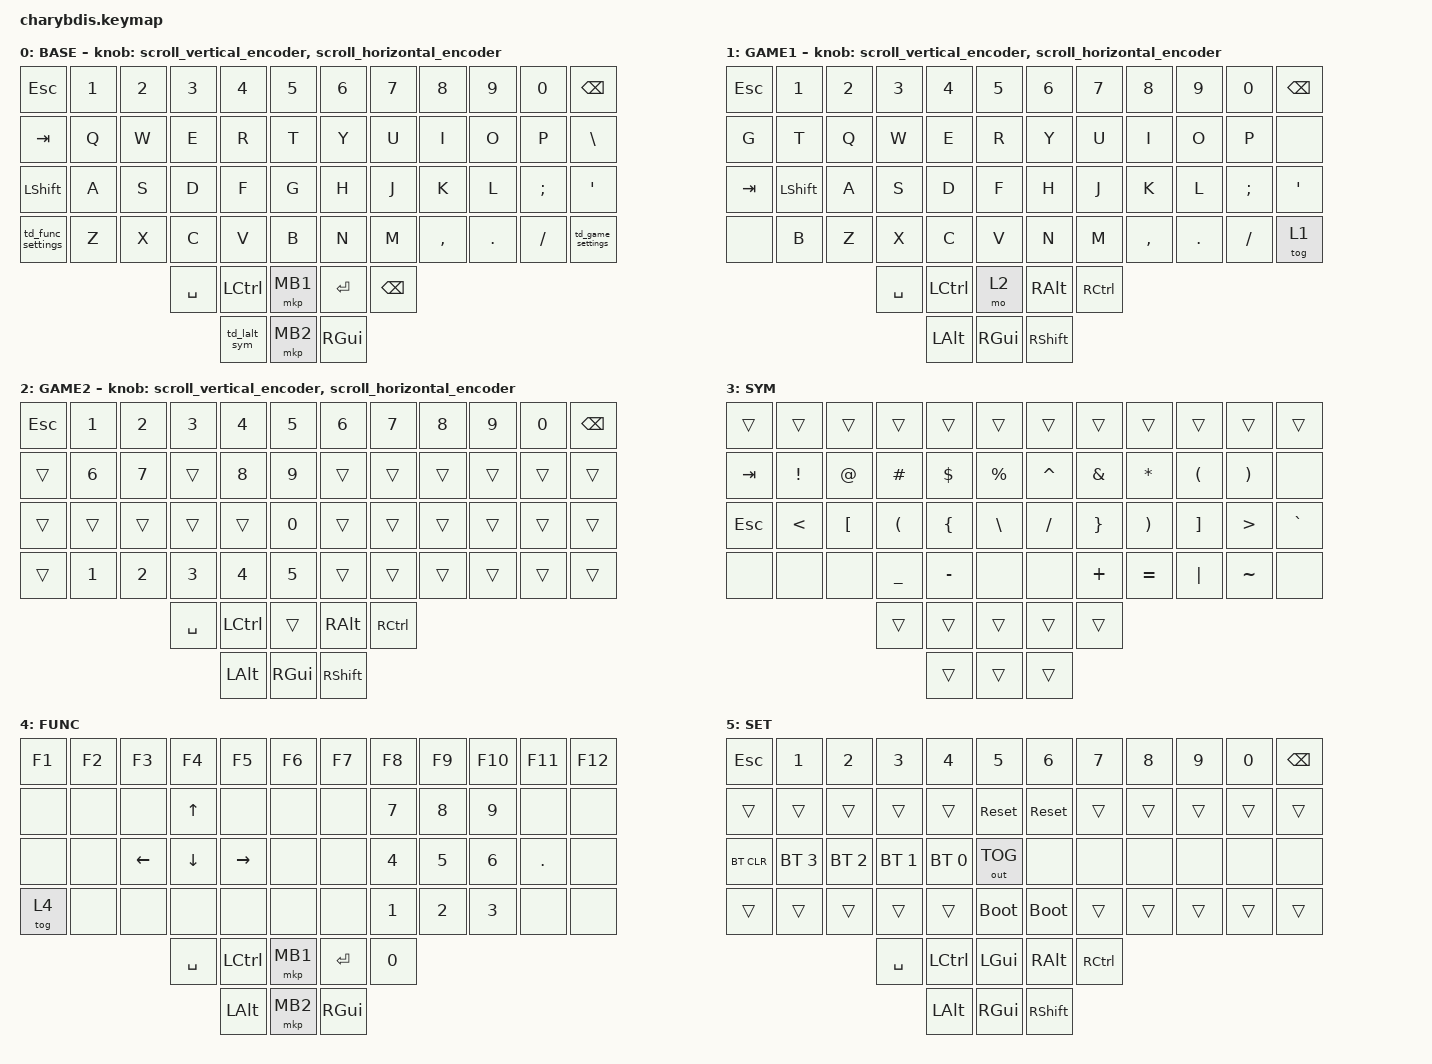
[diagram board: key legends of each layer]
#include <dt-bindings/zmk/mouse.h>
#include <behaviors.dtsi>
#include <dt-bindings/zmk/bt.h>
#include <dt-bindings/zmk/keys.h>
#include <dt-bindings/zmk/outputs.h>
#include <dt-bindings/zmk/pointing.h>

#define ZMK_POINTING_DEFAULT_MOVE_VAL 1000
#define ZMK_POINTING_DEFAULT_SCRL_VAL 12

/ {
    behaviors {
        td_lalt_sym: tap_dance_lalt_sym {
            compatible = "zmk,behavior-tap-dance";
            label = "TAP_DANCE_LALT_SYM";
            #binding-cells = <0>;
            tapping-term-ms = <200>;
            bindings = <&kp LALT>, <&mo 3>;
        };

        td_func_settings: tap_dance_func_settings {
            compatible = "zmk,behavior-tap-dance";
            label = "TAP_DANCE_FUNC_SETTINGS";
            #binding-cells = <0>;
            tapping-term-ms = <200>;
            bindings = <&to 4>, <&to 5>;
        };

        td_game_settings: tap_dance_game_settings {
            compatible = "zmk,behavior-tap-dance";
            label = "TAP_DANCE_GAME_SETTINGS";
            #binding-cells = <0>;
            tapping-term-ms = <200>;
            bindings = <&to 1>, <&to 5>;
        };
    };

    keymap {
        compatible = "zmk,keymap";

        base_layer {
            label = "BASE";
            bindings = <
&kp ESC         &kp N1  &kp N2  &kp N3     &kp N4        &kp N5      &kp N6     &kp N7    &kp N8     &kp N9   &kp N0    &kp BSPC
&kp TAB         &kp Q   &kp W   &kp E      &kp R         &kp T       &kp Y      &kp U     &kp I      &kp O    &kp P     &kp BSLH
&kp LEFT_SHIFT  &kp A   &kp S   &kp D      &kp F         &kp G       &kp H      &kp J     &kp K      &kp L    &kp SEMI  &kp SQT
&td_func_settings  &kp Z   &kp X   &kp C      &kp V         &kp B       &kp N      &kp M     &kp COMMA  &kp DOT  &kp FSLH  &td_game_settings
                                &kp SPACE  &kp LCTRL     &mkp MB1    &kp ENTER  &kp BSPC
                                           &td_lalt_sym  &mkp MB2    &kp RGUI
            >;

            sensor-bindings =
                <&scroll_vertical_encoder>,
                <&scroll_horizontal_encoder>;
        };

        game_layer_1 {
            label = "GAME1";
            bindings = <
&kp ESC  &kp N1      &kp N2  &kp N3     &kp N4     &kp N5      &kp N6     &kp N7     &kp N8     &kp N9      &kp N0         &kp BSPC
&kp G    &kp T       &kp Q   &kp W      &kp E      &kp R       &kp Y      &kp U      &kp I      &kp O       &kp P          &none
&kp TAB  &kp LSHIFT  &kp A   &kp S      &kp D      &kp F       &kp H      &kp J      &kp K      &kp L       &kp SEMICOLON  &kp SQT
&none    &kp B       &kp Z   &kp X      &kp C      &kp V       &kp N      &kp M      &kp COMMA  &kp PERIOD  &kp SLASH      &tog 1
                             &kp SPACE  &kp LCTRL  &mo 2       &kp RALT   &kp RCTRL
                                        &kp LALT   &kp RGUI    &kp RSHFT
            >;

            sensor-bindings =
                <&scroll_vertical_encoder>,
                <&scroll_horizontal_encoder>;
        };

        game_layer_2 {
            label = "GAME2";
            bindings = <
&kp ESC  &kp N1  &kp N2  &kp N3     &kp N4     &kp N5      &kp N6     &kp N7     &kp N8  &kp N9  &kp N0  &kp BSPC
&trans   &kp N6  &kp N7  &trans     &kp N8     &kp N9      &trans     &trans     &trans  &trans  &trans  &trans
&trans   &trans  &trans  &trans     &trans     &kp N0      &trans     &trans     &trans  &trans  &trans  &trans
&trans   &kp N1  &kp N2  &kp N3     &kp N4     &kp N5      &trans     &trans     &trans  &trans  &trans  &trans
                         &kp SPACE  &kp LCTRL  &trans      &kp RALT   &kp RCTRL
                                    &kp LALT   &kp RGUI    &kp RSHFT
            >;

            sensor-bindings =
                <&scroll_vertical_encoder>,
                <&scroll_horizontal_encoder>;
        };

        symbols_layer {
            label = "SYM";
            bindings = <
&trans   &trans    &trans    &trans     &trans     &trans       &trans     &trans    &trans     &trans    &trans     &trans
&kp TAB  &kp EXCL  &kp AT    &kp HASH   &kp DLLR   &kp PRCNT    &kp CARET  &kp AMPS  &kp ASTRK  &kp LPAR  &kp RPAR   &none
&kp ESC  &kp LT    &kp LBKT  &kp LPAR   &kp LBRC   &kp BSLH     &kp FSLH   &kp RBRC  &kp RPAR   &kp RBKT  &kp GT     &kp GRAVE
&none    &none     &none     &kp UNDER  &kp MINUS  &none        &none      &kp PLUS  &kp EQUAL  &kp PIPE  &kp TILDE  &none
                             &trans     &trans     &trans       &trans     &trans
                                        &trans     &trans       &trans
            >;
        };

        function_layer {
            label = "FUNC";
            bindings = <
&kp F1  &kp F2  &kp F3          &kp F4          &kp F5           &kp F6      &kp F7     &kp F8        &kp F9        &kp F10       &kp F11  &kp F12
&none   &none   &none           &kp UP_ARROW    &none            &none       &none      &kp N7        &kp N8        &kp N9        &none    &none
&none   &none   &kp LEFT_ARROW  &kp DOWN_ARROW  &kp RIGHT_ARROW  &none       &none      &kp NUMBER_4  &kp N5        &kp NUMBER_6  &kp DOT  &none
&tog 4  &none   &none           &none           &none            &none       &none      &kp NUMBER_1  &kp NUMBER_2  &kp NUMBER_3  &none    &none
                                &kp SPACE       &kp LCTRL        &mkp MB1    &kp ENTER  &kp N0
                                                &kp LALT         &mkp MB2    &kp RGUI
            >;
        };

        settings {
            label = "SET";
            bindings = <
&kp ESC     &kp N1        &kp N2        &kp N3        &kp N4        &kp N5          &kp N6       &kp N7     &kp N8  &kp N9  &kp N0  &kp BSPC
&trans      &trans        &trans        &trans        &trans        &sys_reset      &sys_reset   &trans     &trans  &trans  &trans  &trans
&bt BT_CLR  &bt BT_SEL 3  &bt BT_SEL 2  &bt BT_SEL 1  &bt BT_SEL 0  &out OUT_TOG    &none        &none      &none   &none   &none   &none
&trans      &trans        &trans        &trans        &trans        &bootloader     &bootloader  &trans     &trans  &trans  &trans  &trans
                                        &kp SPACE     &kp LCTRL     &kp LGUI        &kp RALT     &kp RCTRL
                                                      &kp LALT      &kp RGUI        &kp RSHFT
            >;
        };
    };
};
